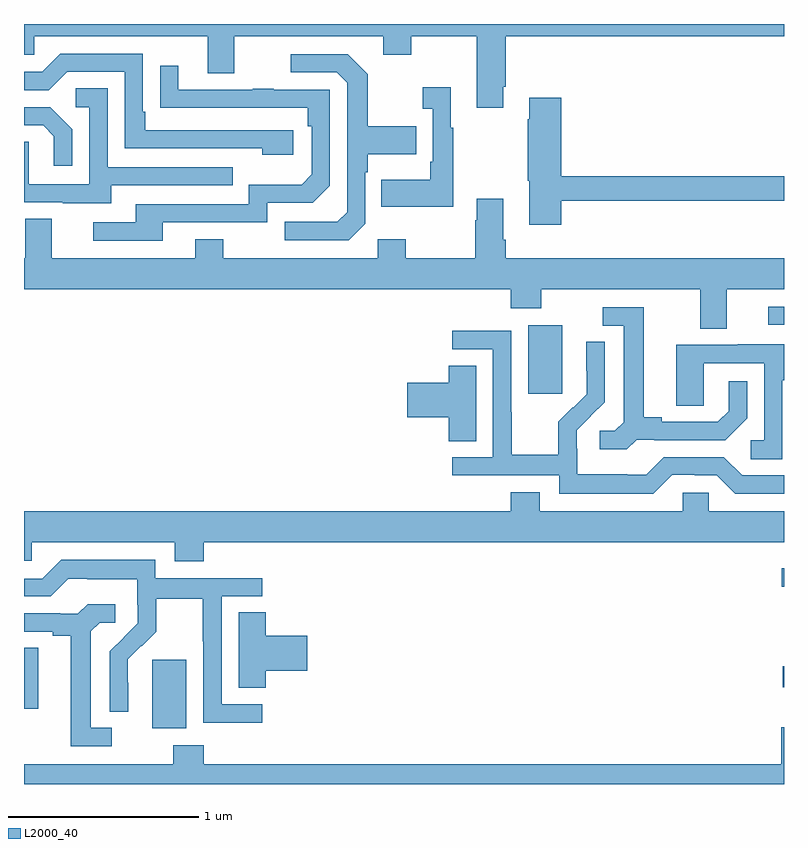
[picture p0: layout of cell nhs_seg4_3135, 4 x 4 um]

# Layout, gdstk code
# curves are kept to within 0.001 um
import gdstk
lib = gdstk.Library(unit=1e-6, precision=1e-09)
def R(c, l, rs):  # rectangles x0, y0, x1, y1
    for r in rs: c.add(gdstk.rectangle(r[:2], r[2:], *l))
def P(c, l, *ps):  # polygons
    for p in ps: c.add(gdstk.Polygon(p, *l))
L2000_40 = (2000, 40)

nhs_seg4_3135 = lib.new_cell('nhs_seg4_3135')
R(nhs_seg4_3135, L2000_40, [(277.676,777.194,277.855,777.555), (277,777.297,277.075,777.617), (280.994,777.408,281,777.52), (280.989,777.939,281,778.036), (279.653,778.953,279.832,779.314), (280.917,779.316,281,779.412)])
P(nhs_seg4_3135, L2000_40, [(279.523,780.571),(279.536,780.571),(279.536,780.836),(281,780.836),(281,780.9),(277,780.9),(277,780.738),(277.053,780.738),(277.053,780.836),(277.967,780.836),(277.967,780.642),(278.107,780.642),(278.107,780.836),(278.891,780.836),(278.891,780.737),(279.039,780.737),(279.039,780.836),(279.383,780.836),(279.383,780.459),(279.523,780.459)],
  [(278.416,780.342),(277.639,780.342),(277.639,780.439),(277.626,780.439),(277.626,780.744),(277.191,780.744),(277.095,780.648),(277,780.648),(277,780.552),(277.131,780.552),(277.227,780.648),(277.53,780.648),(277.53,780.246),(278.255,780.246),(278.255,780.212),(278.416,780.212)],
  [(278.796,779.85),(278.796,780.119),(278.809,780.119),(278.809,780.215),(279.065,780.215),(279.065,780.363),(278.809,780.363),(278.809,780.635),(278.703,780.741),(278.403,780.741),(278.403,780.645),(278.646,780.645),(278.7,780.591),(278.7,779.91),(278.649,779.859),(278.373,779.859),(278.373,779.763),(278.709,779.763)],
  [(277.729,779.856),(278.28,779.856),(278.28,779.958),(278.52,779.958),(278.61,780.048),(278.61,780.555),(278.315,780.555),(278.315,780.56),(278.203,780.56),(278.203,780.555),(277.813,780.555),(277.813,780.679),(277.717,780.679),(277.717,780.46),(278.494,780.459),(278.494,780.362),(278.514,780.362),(278.514,780.108),(278.461,780.055),(278.184,780.055),(278.184,779.952),(277.589,779.952),(277.589,779.856),(277.365,779.856),(277.365,779.76),(277.729,779.76)],
  [(279.259,780.355),(279.247,780.355),(279.247,780.568),(279.099,780.568),(279.099,780.455),(279.15,780.455),(279.15,780.175),(279.138,780.175),(279.138,780.079),(278.881,780.079),(278.881,779.939),(279.259,779.939)],
  [(277.459,780.051),(278.099,780.051),(278.099,780.147),(277.44,780.147),(277.44,780.563),(277.272,780.563),(277.272,780.462),(277.344,780.462),(277.344,780.057),(277.026,780.057),(277.026,780.281),(277,780.281),(277,779.961),(277.205,779.961),(277.205,779.957),(277.459,779.957)],
  [(279.827,779.97),(281,779.97),(281,780.098),(279.827,780.098),(279.827,780.511),(279.659,780.511),(279.659,780.398),(279.652,780.398),(279.652,780.075),(279.659,780.075),(279.659,779.844),(279.827,779.844)],
  [(277.254,780.346),(277.138,780.462),(277,780.462),(277,780.366),(277.1,780.366),(277.157,780.309),(277.157,780.153),(277.254,780.153)],
  [(280.699,779.504),(281,779.504),(281,779.668),(279.536,779.668),(279.536,779.764),(279.523,779.764),(279.523,779.98),(279.383,779.98),(279.383,779.867),(279.376,779.867),(279.376,779.668),(279.009,779.668),(279.009,779.767),(278.862,779.767),(278.862,779.668),(278.049,779.668),(278.049,779.767),(277.901,779.767),(277.901,779.668),(277.147,779.668),(277.147,779.876),(277.007,779.876),(277.007,779.668),(277,779.668),(277,779.504),(279.563,779.504),(279.563,779.405),(279.723,779.405),(279.723,779.504),(280.559,779.504),(280.559,779.296),(280.699,779.296)],
  [(280.224,778.713),(280.318,778.713),(280.318,778.71),(280.69,778.71),(280.806,778.826),(280.806,779.02),(280.709,779.02),(280.709,778.863),(280.652,778.806),(280.357,778.806),(280.357,778.829),(280.261,778.829),(280.261,779.409),(280.047,779.409),(280.047,779.313),(280.157,779.313),(280.157,778.805),(280.11,778.758),(280.029,778.758),(280.029,778.661),(280.172,778.661)],
  [(280.413,778.527),(280.529,778.527),(280.529,778.524),(280.647,778.524),(280.743,778.428),(281,778.428),(281,778.524),(280.779,778.524),(280.683,778.62),(280.368,778.62),(280.275,778.527),(280.175,778.527),(280.175,778.531),(279.912,778.531),(279.912,778.665),(279.91,778.665),(279.91,778.762),(280.056,778.91),(280.056,779.228),(279.96,779.228),(279.96,779.074),(279.962,779.074),(279.962,778.952),(279.891,778.881),(279.888,778.884),(279.811,778.807),(279.811,778.633),(279.567,778.633),(279.567,778.856),(279.564,778.856),(279.564,779.286),(279.255,779.286),(279.255,779.187),(279.468,779.187),(279.468,778.62),(279.255,778.62),(279.255,778.524),(279.816,778.524),(279.816,778.427),(280.313,778.427)],
  [(280.992,779.025),(281,779.025),(281,779.215),(280.757,779.215),(280.757,779.211),(280.433,779.211),(280.433,778.891),(280.578,778.891),(280.578,779.115),(280.896,779.115),(280.896,778.71),(280.824,778.71),(280.824,778.609),(280.992,778.609)],
  [(279.379,779.102),(279.236,779.102),(279.236,779.012),(279.018,779.012),(279.018,778.829),(279.236,778.829),(279.236,778.705),(279.379,778.705)],
  [(277.946,778.172),(281,778.172),(281,778.336),(280.605,778.336),(280.605,778.434),(280.467,778.434),(280.467,778.336),(279.715,778.336),(279.715,778.435),(279.563,778.435),(279.563,778.336),(277,778.336),(277,778.074),(277.041,778.074),(277.041,778.172),(277.793,778.172),(277.793,778.073),(277.946,778.073)],
  [(278.254,777.321),(278.04,777.321),(278.04,777.888),(278.254,777.888),(278.254,777.984),(277.692,777.984),(277.692,778.081),(277.195,778.081),(277.095,777.981),(277,777.981),(277,777.888),(277.14,777.888),(277.233,777.981),(277.333,777.981),(277.333,777.977),(277.596,777.977),(277.596,777.843),(277.598,777.843),(277.598,777.746),(277.452,777.598),(277.452,777.28),(277.548,777.28),(277.547,777.557),(277.617,777.627),(277.62,777.624),(277.697,777.701),(277.697,777.876),(277.942,777.876),(277.942,777.652),(277.944,777.652),(277.944,777.223),(278.254,777.223)],
  [(277.462,777.195),(277.351,777.195),(277.351,777.703),(277.398,777.75),(277.48,777.75),(277.48,777.847),(277.336,777.847),(277.284,777.795),(277.19,777.795),(277.19,777.798),(277,777.798),(277,777.702),(277.151,777.702),(277.151,777.68),(277.247,777.68),(277.247,777.099),(277.462,777.099)],
  [(278.273,777.497),(278.491,777.497),(278.491,777.68),(278.273,777.68),(278.273,777.803),(278.129,777.803),(278.129,777.406),(278.273,777.406)],
  [(281,777.199),(280.985,777.199),(280.985,777.004),(277.946,777.004),(277.946,777.103),(277.786,777.103),(277.786,777.004),(277,777.004),(277,776.9),(281,776.9)])

lib.write_gds('nhs_seg4_3135.gds')
